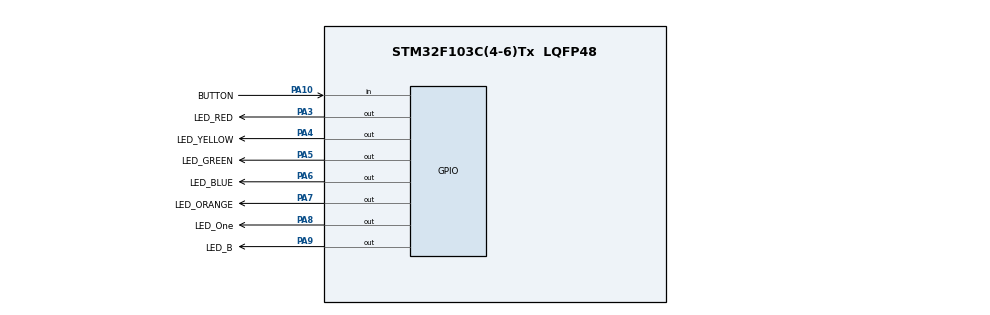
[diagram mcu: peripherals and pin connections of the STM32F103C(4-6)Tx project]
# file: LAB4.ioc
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Mcu.Family=STM32F1
Mcu.Name=STM32F103C(4-6)Tx
Mcu.Package=LQFP48
NVIC.PriorityGroup=NVIC_PRIORITYGROUP_4
NVIC.TIM2_IRQn=true\:0\:0\:false\:false\:true\:true\:true
PA10.GPIO_Label=BUTTON
PA10.GPIO_PuPd=GPIO_PULLUP
PA10.Signal=GPIO_Input
PA3.GPIO_Label=LED_RED
PA3.Signal=GPIO_Output
PA4.GPIO_Label=LED_YELLOW
PA4.Signal=GPIO_Output
PA5.GPIO_Label=LED_GREEN
PA5.Signal=GPIO_Output
PA6.GPIO_Label=LED_BLUE
PA6.Signal=GPIO_Output
PA7.GPIO_Label=LED_ORANGE
PA7.Signal=GPIO_Output
PA8.GPIO_Label=LED_One
PA8.Signal=GPIO_Output
PA9.GPIO_Label=LED_B
PA9.Signal=GPIO_Output
ProjectManager.HeapSize=0x200
ProjectManager.StackSize=0x400
ProjectManager.TargetToolchain=STM32CubeIDE
RCC.APB1Freq_Value=8000000
RCC.APB2Freq_Value=8000000
TIM2.Period=9
TIM2.Prescaler=7999
VP_SYS_VS_ND.Mode=No_Debug
VP_TIM2_VS_ClockSourceINT.Mode=Internal
board=custom

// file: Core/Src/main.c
/* USER CODE BEGIN Header */
/**
  ******************************************************************************
  * @file           : main.c
  * @brief          : Main program body
  ******************************************************************************
  * @attention
  *
  * <h2><center>&copy; Copyright (c) 2023 STMicroelectronics.
  * All rights reserved.</center></h2>
  *
  * This software component is licensed by ST under BSD 3-Clause license,
  * the "License"; You may not use this file except in compliance with the
  * License. You may obtain a copy of the License at:
  *                        opensource.org/licenses/BSD-3-Clause
  *
  ******************************************************************************
  */
/* USER CODE END Header */
#include "main.h"

/* USER CODE BEGIN Includes */
#include "button.h"
#include "scheduler.h"
/* USER CODE END Includes */

TIM_HandleTypeDef htim2;

void SystemClock_Config(void);
static void MX_GPIO_Init(void);
static void MX_TIM2_Init(void);

/* USER CODE BEGIN 0 */
void ledred(){
	HAL_GPIO_TogglePin(LED_RED_GPIO_Port, LED_RED_Pin);
}

void ledyellow(){
	HAL_GPIO_TogglePin(LED_YELLOW_GPIO_Port, LED_YELLOW_Pin);
}

void ledgreen(){
	HAL_GPIO_TogglePin(LED_GREEN_GPIO_Port, LED_GREEN_Pin);
}

void ledblue(){
	HAL_GPIO_TogglePin(LED_BLUE_GPIO_Port, LED_BLUE_Pin);
}

void ledorange(){
	HAL_GPIO_TogglePin(LED_ORANGE_GPIO_Port, LED_ORANGE_Pin);
}

void ledone(){
	HAL_GPIO_TogglePin(LED_One_GPIO_Port, LED_One_Pin);
}

void ledbutton(){
	if (isButtonPressed(0)) {
		HAL_GPIO_TogglePin(LED_B_GPIO_Port, LED_B_Pin);
	}
}
/* USER CODE END 0 */

int main(void)
{

  /* MCU Configuration--------------------------------------------------------*/

  /* Reset of all peripherals, Initializes the Flash interface and the Systick. */
  HAL_Init();

  /* Configure the system clock */
  SystemClock_Config();

  /* Initialize all configured peripherals */
  MX_GPIO_Init();
  MX_TIM2_Init();
  /* USER CODE BEGIN 2 */
  HAL_TIM_Base_Start_IT (& htim2);
  SCH_Init();
  /* USER CODE END 2 */

  /* Infinite loop */
  /* USER CODE BEGIN WHILE */
  SCH_Add_Task(ledred, 500, 500);
  SCH_Add_Task(ledyellow, 1000, 1000);
  SCH_Add_Task(ledgreen, 1500, 1500);
  SCH_Add_Task(ledblue, 2000, 2000);
  SCH_Add_Task(ledorange, 2500, 2500);
  // One shot task
  SCH_Add_Task(ledone, 3000, 0);
  // Task with Button
  SCH_Add_Task(ledbutton, 100, 100);
  while (1)
  {
    /* USER CODE END WHILE */

    /* USER CODE BEGIN 3 */
	  SCH_Dispatch_Tasks();
  }
  /* USER CODE END 3 */
}

void SystemClock_Config(void)
{
  RCC_OscInitTypeDef RCC_OscInitStruct = {0};
  RCC_ClkInitTypeDef RCC_ClkInitStruct = {0};

  /** Initializes the RCC Oscillators according to the specified parameters
  * in the RCC_OscInitTypeDef structure.
  */
  RCC_OscInitStruct.OscillatorType = RCC_OSCILLATORTYPE_HSI;
  RCC_OscInitStruct.HSIState = RCC_HSI_ON;
  RCC_OscInitStruct.HSICalibrationValue = RCC_HSICALIBRATION_DEFAULT;
  RCC_OscInitStruct.PLL.PLLState = RCC_PLL_NONE;
  if (HAL_RCC_OscConfig(&RCC_OscInitStruct) != HAL_OK)
  {
    Error_Handler();
  }
  /** Initializes the CPU, AHB and APB buses clocks
  */
  RCC_ClkInitStruct.ClockType = RCC_CLOCKTYPE_HCLK|RCC_CLOCKTYPE_SYSCLK
                              |RCC_CLOCKTYPE_PCLK1|RCC_CLOCKTYPE_PCLK2;
  RCC_ClkInitStruct.SYSCLKSource = RCC_SYSCLKSOURCE_HSI;
  RCC_ClkInitStruct.AHBCLKDivider = RCC_SYSCLK_DIV1;
  RCC_ClkInitStruct.APB1CLKDivider = RCC_HCLK_DIV1;
  RCC_ClkInitStruct.APB2CLKDivider = RCC_HCLK_DIV1;

  if (HAL_RCC_ClockConfig(&RCC_ClkInitStruct, FLASH_LATENCY_0) != HAL_OK)
  {
    Error_Handler();
  }
}

static void MX_TIM2_Init(void)
{

  TIM_ClockConfigTypeDef sClockSourceConfig = {0};
  TIM_MasterConfigTypeDef sMasterConfig = {0};

  htim2.Instance = TIM2;
  htim2.Init.Prescaler = 7999;
  htim2.Init.CounterMode = TIM_COUNTERMODE_UP;
  htim2.Init.Period = 9;
  htim2.Init.ClockDivision = TIM_CLOCKDIVISION_DIV1;
  htim2.Init.AutoReloadPreload = TIM_AUTORELOAD_PRELOAD_DISABLE;
  if (HAL_TIM_Base_Init(&htim2) != HAL_OK)
  {
    Error_Handler();
  }
  sClockSourceConfig.ClockSource = TIM_CLOCKSOURCE_INTERNAL;
  if (HAL_TIM_ConfigClockSource(&htim2, &sClockSourceConfig) != HAL_OK)
  {
    Error_Handler();
  }
  sMasterConfig.MasterOutputTrigger = TIM_TRGO_RESET;
  sMasterConfig.MasterSlaveMode = TIM_MASTERSLAVEMODE_DISABLE;
  if (HAL_TIMEx_MasterConfigSynchronization(&htim2, &sMasterConfig) != HAL_OK)
  {
    Error_Handler();
  }
  /* USER CODE BEGIN TIM2_Init 2 */
  TIME_CYCLE = 1/(8e6/(htim2.Init.Prescaler + 1)/(htim2.Init.Period + 1)) * 1000; // Time cycle
  /* USER CODE END TIM2_Init 2 */

}

static void MX_GPIO_Init(void)
{
  GPIO_InitTypeDef GPIO_InitStruct = {0};

  /* GPIO Ports Clock Enable */
  __HAL_RCC_GPIOA_CLK_ENABLE();

  /*Configure GPIO pin Output Level */
  HAL_GPIO_WritePin(GPIOA, LED_RED_Pin|LED_YELLOW_Pin|LED_GREEN_Pin|LED_BLUE_Pin
                          |LED_ORANGE_Pin|LED_One_Pin|LED_B_Pin, GPIO_PIN_RESET);

  /*Configure GPIO pins : LED_RED_Pin LED_YELLOW_Pin LED_GREEN_Pin LED_BLUE_Pin
                           LED_ORANGE_Pin LED_One_Pin LED_B_Pin */
  GPIO_InitStruct.Pin = LED_RED_Pin|LED_YELLOW_Pin|LED_GREEN_Pin|LED_BLUE_Pin
                          |LED_ORANGE_Pin|LED_One_Pin|LED_B_Pin;
  GPIO_InitStruct.Mode = GPIO_MODE_OUTPUT_PP;
  GPIO_InitStruct.Pull = GPIO_NOPULL;
  GPIO_InitStruct.Speed = GPIO_SPEED_FREQ_LOW;
  HAL_GPIO_Init(GPIOA, &GPIO_InitStruct);

  /*Configure GPIO pin : BUTTON_Pin */
  GPIO_InitStruct.Pin = BUTTON_Pin;
  GPIO_InitStruct.Mode = GPIO_MODE_INPUT;
  GPIO_InitStruct.Pull = GPIO_PULLUP;
  HAL_GPIO_Init(BUTTON_GPIO_Port, &GPIO_InitStruct);

}

/* USER CODE BEGIN 4 */
void HAL_TIM_PeriodElapsedCallback(TIM_HandleTypeDef * htim){
	SCH_Update();
	getKeyInput();
}
/* USER CODE END 4 */

void Error_Handler(void)
{
  __disable_irq();
  while (1)
  {
  }
}

/************************ (C) COPYRIGHT STMicroelectronics *****END OF FILE****/
